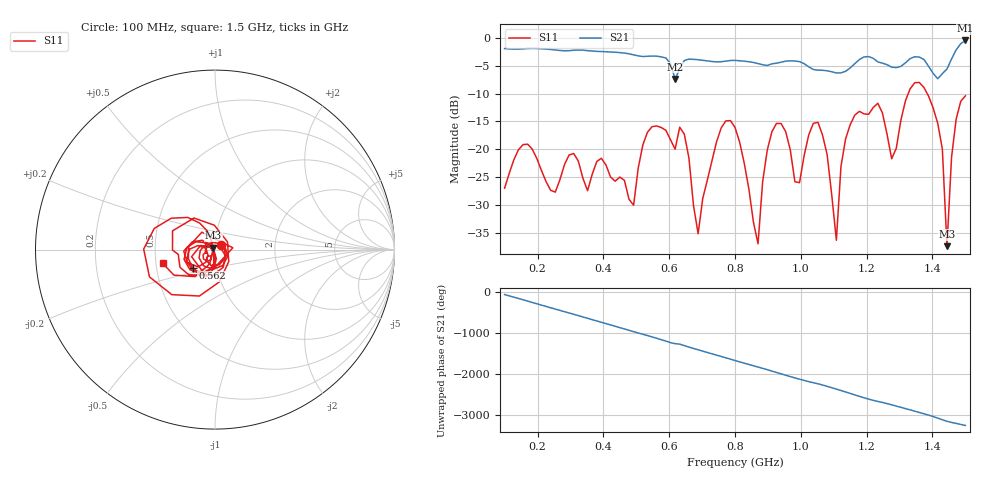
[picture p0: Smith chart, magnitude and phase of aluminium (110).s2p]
! NanoVNA-App
! Date: 2025-09-25 14:56:08
! Start: 100MHz Stop: 1,5GHz Points: 101
! S-Parameter data: F S11 S21 S12 S22
# Hz S RI R 50
!  Frequency  S11_Real  S11_Imag  S21_Real  S21_Imag  S12_Real  S12_Imag  S22_Real  S22_Imag
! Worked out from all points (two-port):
!   101 points, 100 MHz to 1.5 GHz, reference 50 ohm
!   highest |S21| = -0.46 dB at 1.5 GHz (marker M1); lowest = -7.4 dB at 618 MHz (marker M2)
!   |S21| within 3 dB of the highest: start of sweep to 579.6 MHz; 1.461 GHz to end of sweep (the widest 2 of 4)
!   lowest |S11| = -37.4 dB at 1.444 GHz (marker M3), VSWR 1.03, Z = 49.1 + j0.969 ohm
!   |S11| at or under -10 dB: start of sweep to 1.327 GHz; 1.384 GHz to end of sweep
!   S12 and S22 are empty: the file has one direction only
!   S11 on the Smith chart (normalised r, x): 100 MHz: 1.07, +0.06; 562 MHz: 0.76, -0.16; 1.5 GHz: 0.54, -0.09
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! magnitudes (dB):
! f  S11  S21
! 100 MHz  -27.0  -1.9
! 338 MHz  -25.2  -2.2
! 492 MHz  -30.1  -3.1
! 562 MHz  -15.8  -3.3
! 576 MHz  -16.1  -3.4
! 618 MHz  -20.0  -7.4
! 646 MHz  -17.3  -4.1
! 688 MHz  -35.2  -3.9
! 800 MHz  -16.1  -4.0
! 870 MHz  -37.0  -4.6
! 912 MHz  -16.9  -4.7
! 996 MHz  -26.0  -4.3
! 1.038 GHz  -15.4  -5.7
! 1.108 GHz  -36.4  -6.3
! 1.122 GHz  -23.1  -6.3
! 1.164 GHz  -13.9  -4.6
! 1.276 GHz  -21.7  -5.3
! 1.374 GHz  -8.9  -3.9
! 1.43 GHz  -20.0  -6.4
! 1.444 GHz  -37.4  -5.6
! 1.472 GHz  -14.6  -2.2
! 1.5 GHz  -10.4  -0.5
